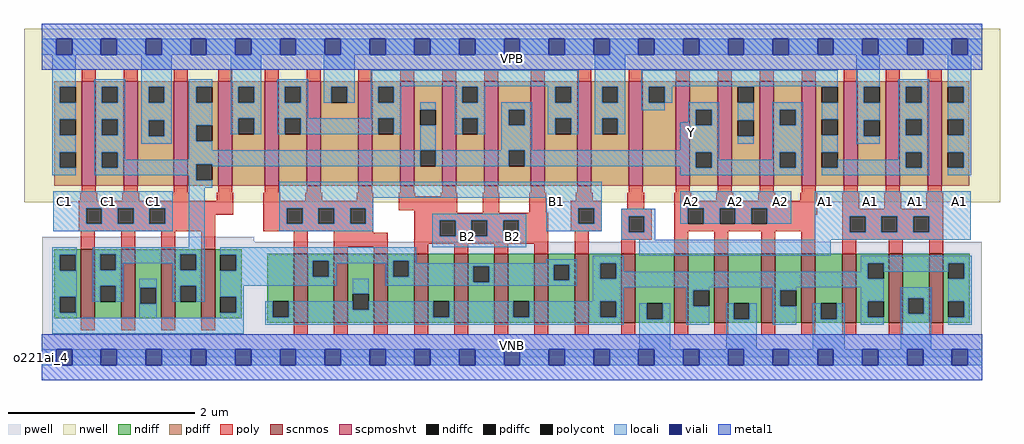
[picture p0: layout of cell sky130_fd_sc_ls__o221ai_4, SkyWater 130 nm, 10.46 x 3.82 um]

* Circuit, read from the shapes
.subckt sky130_fd_sc_ls__o221ai_4 A1 A2 B1 B2 C1 VGND VNB VPB VPWR Y
XM1 Y C1 n1 VNB sky130_fd_pr__nfet_01v8 w=0.74 l=0.15 m=4
XM2 n1 B1 n2 VNB sky130_fd_pr__nfet_01v8 w=0.74 l=0.15 m=4
XM3 n2 B2 n1 VNB sky130_fd_pr__nfet_01v8 w=0.74 l=0.15 m=4
XM4 VGND A1 n2 VNB sky130_fd_pr__nfet_01v8 w=0.74 l=0.15 m=4
XM5 n2 A2 VGND VNB sky130_fd_pr__nfet_01v8 w=0.74 l=0.15 m=4
XM6 Y C1 VPWR VPB sky130_fd_pr__pfet_01v8_hvt w=1.12 l=0.15 m=4
XM7 n3 B1 VPWR VPB sky130_fd_pr__pfet_01v8_hvt w=1.12 l=0.15 m=4
XM8 Y B2 n3 VPB sky130_fd_pr__pfet_01v8_hvt w=1.12 l=0.15 m=4
XM9 n4 A1 VPWR VPB sky130_fd_pr__pfet_01v8_hvt w=1.12 l=0.15 m=4
XM10 Y A2 n4 VPB sky130_fd_pr__pfet_01v8_hvt w=1.12 l=0.15 m=4
.ends

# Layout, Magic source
magic
tech sky130A
magscale 1 2
<< nwell >>
rect -38 332 2054 704
<< pwell >>
rect 1 248 455 258
rect 1 49 2015 248
rect 0 0 2016 49
<< scnmos >>
rect 84 84 114 232
rect 170 84 200 232
rect 256 84 286 232
rect 342 84 372 232
rect 540 74 570 222
rect 626 74 656 222
rect 712 74 742 222
rect 798 74 828 222
rect 884 74 914 222
rect 970 74 1000 222
rect 1056 74 1086 222
rect 1142 74 1172 222
rect 1242 74 1272 222
rect 1356 74 1386 222
rect 1442 74 1472 222
rect 1542 74 1572 222
rect 1628 74 1658 222
rect 1716 74 1746 222
rect 1816 74 1846 222
rect 1902 74 1932 222
<< scpmoshvt >>
rect 86 368 116 592
rect 176 368 206 592
rect 283 368 313 592
rect 378 368 408 592
rect 478 368 508 592
rect 568 368 598 592
rect 678 368 708 592
rect 768 368 798 592
rect 858 368 888 592
rect 948 368 978 592
rect 1048 368 1078 592
rect 1148 368 1178 592
rect 1258 368 1288 592
rect 1359 368 1389 592
rect 1449 368 1479 592
rect 1539 368 1569 592
rect 1629 368 1659 592
rect 1719 368 1749 592
rect 1809 368 1839 592
rect 1899 368 1929 592
<< ndiff >>
rect 27 220 84 232
rect 27 186 39 220
rect 73 186 84 220
rect 27 130 84 186
rect 27 96 39 130
rect 73 96 84 130
rect 27 84 84 96
rect 114 221 170 232
rect 114 187 125 221
rect 159 187 170 221
rect 114 153 170 187
rect 114 119 125 153
rect 159 119 170 153
rect 114 84 170 119
rect 200 149 256 232
rect 200 115 211 149
rect 245 115 256 149
rect 200 84 256 115
rect 286 221 342 232
rect 286 187 297 221
rect 331 187 342 221
rect 286 153 342 187
rect 286 119 297 153
rect 331 119 342 153
rect 286 84 342 119
rect 372 220 429 232
rect 372 186 383 220
rect 417 186 429 220
rect 372 130 429 186
rect 372 96 383 130
rect 417 96 429 130
rect 372 84 429 96
rect 483 120 540 222
rect 483 86 495 120
rect 529 86 540 120
rect 483 74 540 86
rect 570 207 626 222
rect 570 173 581 207
rect 615 173 626 207
rect 570 74 626 173
rect 656 136 712 222
rect 656 102 667 136
rect 701 102 712 136
rect 656 74 712 102
rect 742 207 798 222
rect 742 173 753 207
rect 787 173 798 207
rect 742 74 798 173
rect 828 120 884 222
rect 828 86 839 120
rect 873 86 884 120
rect 828 74 884 86
rect 914 195 970 222
rect 914 161 925 195
rect 959 161 970 195
rect 914 74 970 161
rect 1000 120 1056 222
rect 1000 86 1011 120
rect 1045 86 1056 120
rect 1000 74 1056 86
rect 1086 199 1142 222
rect 1086 165 1097 199
rect 1131 165 1142 199
rect 1086 74 1142 165
rect 1172 202 1242 222
rect 1172 168 1197 202
rect 1231 168 1242 202
rect 1172 120 1242 168
rect 1172 86 1197 120
rect 1231 86 1242 120
rect 1172 74 1242 86
rect 1272 116 1356 222
rect 1272 82 1297 116
rect 1331 82 1356 116
rect 1272 74 1356 82
rect 1386 144 1442 222
rect 1386 110 1397 144
rect 1431 110 1442 144
rect 1386 74 1442 110
rect 1472 116 1542 222
rect 1472 82 1483 116
rect 1517 82 1542 116
rect 1472 74 1542 82
rect 1572 144 1628 222
rect 1572 110 1583 144
rect 1617 110 1628 144
rect 1572 74 1628 110
rect 1658 116 1716 222
rect 1658 82 1670 116
rect 1704 82 1716 116
rect 1658 74 1716 82
rect 1746 202 1816 222
rect 1746 168 1771 202
rect 1805 168 1816 202
rect 1746 120 1816 168
rect 1746 86 1771 120
rect 1805 86 1816 120
rect 1746 74 1816 86
rect 1846 127 1902 222
rect 1846 93 1857 127
rect 1891 93 1902 127
rect 1846 74 1902 93
rect 1932 202 1989 222
rect 1932 168 1943 202
rect 1977 168 1989 202
rect 1932 120 1989 168
rect 1932 86 1943 120
rect 1977 86 1989 120
rect 1932 74 1989 86
<< pdiff >>
rect 27 580 86 592
rect 27 546 39 580
rect 73 546 86 580
rect 27 510 86 546
rect 27 476 39 510
rect 73 476 86 510
rect 27 440 86 476
rect 27 406 39 440
rect 73 406 86 440
rect 27 368 86 406
rect 116 580 176 592
rect 116 546 129 580
rect 163 546 176 580
rect 116 510 176 546
rect 116 476 129 510
rect 163 476 176 510
rect 116 440 176 476
rect 116 406 129 440
rect 163 406 176 440
rect 116 368 176 406
rect 206 580 283 592
rect 206 546 229 580
rect 263 546 283 580
rect 206 508 283 546
rect 206 474 229 508
rect 263 474 283 508
rect 206 368 283 474
rect 313 580 378 592
rect 313 546 331 580
rect 365 546 378 580
rect 313 497 378 546
rect 313 463 331 497
rect 365 463 378 497
rect 313 414 378 463
rect 313 380 331 414
rect 365 380 378 414
rect 313 368 378 380
rect 408 580 478 592
rect 408 546 421 580
rect 455 546 478 580
rect 408 512 478 546
rect 408 478 421 512
rect 455 478 478 512
rect 408 368 478 478
rect 508 580 568 592
rect 508 546 521 580
rect 555 546 568 580
rect 508 512 568 546
rect 508 478 521 512
rect 555 478 568 512
rect 508 368 568 478
rect 598 580 678 592
rect 598 546 621 580
rect 655 546 678 580
rect 598 368 678 546
rect 708 580 768 592
rect 708 546 721 580
rect 755 546 768 580
rect 708 512 768 546
rect 708 478 721 512
rect 755 478 768 512
rect 708 368 768 478
rect 798 531 858 592
rect 798 497 811 531
rect 845 497 858 531
rect 798 444 858 497
rect 798 410 811 444
rect 845 410 858 444
rect 798 368 858 410
rect 888 580 948 592
rect 888 546 901 580
rect 935 546 948 580
rect 888 512 948 546
rect 888 478 901 512
rect 935 478 948 512
rect 888 368 948 478
rect 978 531 1048 592
rect 978 497 1001 531
rect 1035 497 1048 531
rect 978 444 1048 497
rect 978 410 1001 444
rect 1035 410 1048 444
rect 978 368 1048 410
rect 1078 580 1148 592
rect 1078 546 1101 580
rect 1135 546 1148 580
rect 1078 512 1148 546
rect 1078 478 1101 512
rect 1135 478 1148 512
rect 1078 368 1148 478
rect 1178 580 1258 592
rect 1178 546 1201 580
rect 1235 546 1258 580
rect 1178 512 1258 546
rect 1178 478 1201 512
rect 1235 478 1258 512
rect 1178 368 1258 478
rect 1288 580 1359 592
rect 1288 546 1301 580
rect 1335 546 1359 580
rect 1288 368 1359 546
rect 1389 531 1449 592
rect 1389 497 1402 531
rect 1436 497 1449 531
rect 1389 440 1449 497
rect 1389 406 1402 440
rect 1436 406 1449 440
rect 1389 368 1449 406
rect 1479 580 1539 592
rect 1479 546 1492 580
rect 1526 546 1539 580
rect 1479 508 1539 546
rect 1479 474 1492 508
rect 1526 474 1539 508
rect 1479 368 1539 474
rect 1569 531 1629 592
rect 1569 497 1582 531
rect 1616 497 1629 531
rect 1569 440 1629 497
rect 1569 406 1582 440
rect 1616 406 1629 440
rect 1569 368 1629 406
rect 1659 580 1719 592
rect 1659 546 1672 580
rect 1706 546 1719 580
rect 1659 510 1719 546
rect 1659 476 1672 510
rect 1706 476 1719 510
rect 1659 440 1719 476
rect 1659 406 1672 440
rect 1706 406 1719 440
rect 1659 368 1719 406
rect 1749 580 1809 592
rect 1749 546 1762 580
rect 1796 546 1809 580
rect 1749 508 1809 546
rect 1749 474 1762 508
rect 1796 474 1809 508
rect 1749 368 1809 474
rect 1839 580 1899 592
rect 1839 546 1852 580
rect 1886 546 1899 580
rect 1839 510 1899 546
rect 1839 476 1852 510
rect 1886 476 1899 510
rect 1839 440 1899 476
rect 1839 406 1852 440
rect 1886 406 1899 440
rect 1839 368 1899 406
rect 1929 580 1988 592
rect 1929 546 1942 580
rect 1976 546 1988 580
rect 1929 510 1988 546
rect 1929 476 1942 510
rect 1976 476 1988 510
rect 1929 440 1988 476
rect 1929 406 1942 440
rect 1976 406 1988 440
rect 1929 368 1988 406
<< ndiffc >>
rect 39 186 73 220
rect 39 96 73 130
rect 125 187 159 221
rect 125 119 159 153
rect 211 115 245 149
rect 297 187 331 221
rect 297 119 331 153
rect 383 186 417 220
rect 383 96 417 130
rect 495 86 529 120
rect 581 173 615 207
rect 667 102 701 136
rect 753 173 787 207
rect 839 86 873 120
rect 925 161 959 195
rect 1011 86 1045 120
rect 1097 165 1131 199
rect 1197 168 1231 202
rect 1197 86 1231 120
rect 1297 82 1331 116
rect 1397 110 1431 144
rect 1483 82 1517 116
rect 1583 110 1617 144
rect 1670 82 1704 116
rect 1771 168 1805 202
rect 1771 86 1805 120
rect 1857 93 1891 127
rect 1943 168 1977 202
rect 1943 86 1977 120
<< pdiffc >>
rect 39 546 73 580
rect 39 476 73 510
rect 39 406 73 440
rect 129 546 163 580
rect 129 476 163 510
rect 129 406 163 440
rect 229 546 263 580
rect 229 474 263 508
rect 331 546 365 580
rect 331 463 365 497
rect 331 380 365 414
rect 421 546 455 580
rect 421 478 455 512
rect 521 546 555 580
rect 521 478 555 512
rect 621 546 655 580
rect 721 546 755 580
rect 721 478 755 512
rect 811 497 845 531
rect 811 410 845 444
rect 901 546 935 580
rect 901 478 935 512
rect 1001 497 1035 531
rect 1001 410 1035 444
rect 1101 546 1135 580
rect 1101 478 1135 512
rect 1201 546 1235 580
rect 1201 478 1235 512
rect 1301 546 1335 580
rect 1402 497 1436 531
rect 1402 406 1436 440
rect 1492 546 1526 580
rect 1492 474 1526 508
rect 1582 497 1616 531
rect 1582 406 1616 440
rect 1672 546 1706 580
rect 1672 476 1706 510
rect 1672 406 1706 440
rect 1762 546 1796 580
rect 1762 474 1796 508
rect 1852 546 1886 580
rect 1852 476 1886 510
rect 1852 406 1886 440
rect 1942 546 1976 580
rect 1942 476 1976 510
rect 1942 406 1976 440
<< poly >>
rect 86 592 116 618
rect 176 592 206 618
rect 283 592 313 618
rect 378 592 408 618
rect 478 592 508 618
rect 568 592 598 618
rect 678 592 708 618
rect 768 592 798 618
rect 858 592 888 618
rect 948 592 978 618
rect 1048 592 1078 618
rect 1148 592 1178 618
rect 1258 592 1288 618
rect 1359 592 1389 618
rect 1449 592 1479 618
rect 1539 592 1569 618
rect 1629 592 1659 618
rect 1719 592 1749 618
rect 1809 592 1839 618
rect 1899 592 1929 618
rect 86 353 116 368
rect 176 353 206 368
rect 283 353 313 368
rect 378 353 408 368
rect 478 353 508 368
rect 568 353 598 368
rect 678 353 708 368
rect 768 353 798 368
rect 858 353 888 368
rect 948 353 978 368
rect 1048 353 1078 368
rect 1148 353 1178 368
rect 1258 353 1288 368
rect 1359 353 1389 368
rect 1449 353 1479 368
rect 1539 353 1569 368
rect 1629 353 1659 368
rect 1719 353 1749 368
rect 1809 353 1839 368
rect 1899 353 1929 368
rect 83 336 119 353
rect 173 336 209 353
rect 280 336 316 353
rect 375 336 411 353
rect 79 320 411 336
rect 79 286 95 320
rect 129 286 163 320
rect 197 286 231 320
rect 265 306 411 320
rect 475 336 511 353
rect 565 336 601 353
rect 675 336 711 353
rect 475 320 711 336
rect 265 286 372 306
rect 79 270 372 286
rect 475 286 525 320
rect 559 286 593 320
rect 627 286 661 320
rect 695 286 711 320
rect 765 345 801 353
rect 855 345 891 353
rect 765 315 891 345
rect 475 270 711 286
rect 84 232 114 270
rect 170 232 200 270
rect 256 232 286 270
rect 342 232 372 270
rect 540 222 570 270
rect 626 267 711 270
rect 798 310 891 315
rect 945 310 981 353
rect 1045 310 1081 353
rect 1145 336 1181 353
rect 1134 320 1200 336
rect 798 294 1086 310
rect 626 237 742 267
rect 626 222 656 237
rect 712 222 742 237
rect 798 260 853 294
rect 887 260 921 294
rect 955 260 989 294
rect 1023 260 1086 294
rect 1134 286 1150 320
rect 1184 286 1200 320
rect 1255 318 1291 353
rect 1356 336 1392 353
rect 1446 336 1482 353
rect 1536 336 1572 353
rect 1626 336 1662 353
rect 1356 320 1662 336
rect 1134 270 1200 286
rect 1242 302 1308 318
rect 798 244 1086 260
rect 798 222 828 244
rect 884 222 914 244
rect 970 222 1000 244
rect 1056 222 1086 244
rect 1142 222 1172 270
rect 1242 268 1258 302
rect 1292 268 1308 302
rect 1242 252 1308 268
rect 1356 286 1385 320
rect 1419 286 1453 320
rect 1487 286 1521 320
rect 1555 306 1662 320
rect 1716 318 1752 353
rect 1806 318 1842 353
rect 1896 318 1932 353
rect 1555 286 1658 306
rect 1356 270 1658 286
rect 1242 222 1272 252
rect 1356 222 1386 270
rect 1442 222 1472 270
rect 1542 222 1572 270
rect 1628 222 1658 270
rect 1716 302 1932 318
rect 1716 268 1732 302
rect 1766 268 1800 302
rect 1834 268 1868 302
rect 1902 268 1932 302
rect 1716 252 1932 268
rect 1716 222 1746 252
rect 1816 222 1846 252
rect 1902 222 1932 252
rect 84 58 114 84
rect 170 58 200 84
rect 256 58 286 84
rect 342 58 372 84
rect 540 48 570 74
rect 626 48 656 74
rect 712 48 742 74
rect 798 48 828 74
rect 884 48 914 74
rect 970 48 1000 74
rect 1056 48 1086 74
rect 1142 48 1172 74
rect 1242 48 1272 74
rect 1356 48 1386 74
rect 1442 48 1472 74
rect 1542 48 1572 74
rect 1628 48 1658 74
rect 1716 48 1746 74
rect 1816 48 1846 74
rect 1902 48 1932 74
<< polycont >>
rect 95 286 129 320
rect 163 286 197 320
rect 231 286 265 320
rect 525 286 559 320
rect 593 286 627 320
rect 661 286 695 320
rect 853 260 887 294
rect 921 260 955 294
rect 989 260 1023 294
rect 1150 286 1184 320
rect 1258 268 1292 302
rect 1385 286 1419 320
rect 1453 286 1487 320
rect 1521 286 1555 320
rect 1732 268 1766 302
rect 1800 268 1834 302
rect 1868 268 1902 302
<< locali >>
rect 0 649 31 683
rect 65 649 127 683
rect 161 649 223 683
rect 257 649 319 683
rect 353 649 415 683
rect 449 649 511 683
rect 545 649 607 683
rect 641 649 703 683
rect 737 649 799 683
rect 833 649 895 683
rect 929 649 991 683
rect 1025 649 1087 683
rect 1121 649 1183 683
rect 1217 649 1279 683
rect 1313 649 1375 683
rect 1409 649 1471 683
rect 1505 649 1567 683
rect 1601 649 1663 683
rect 1697 649 1759 683
rect 1793 649 1855 683
rect 1889 649 1951 683
rect 1985 649 2016 683
rect 23 580 73 649
rect 23 546 39 580
rect 23 510 73 546
rect 23 476 39 510
rect 23 440 73 476
rect 23 406 39 440
rect 23 390 73 406
rect 113 580 179 596
rect 113 546 129 580
rect 163 546 179 580
rect 113 510 179 546
rect 113 476 129 510
rect 163 476 179 510
rect 113 440 179 476
rect 213 580 279 649
rect 213 546 229 580
rect 263 546 279 580
rect 213 508 279 546
rect 213 474 229 508
rect 263 474 279 508
rect 213 458 279 474
rect 315 580 365 596
rect 315 546 331 580
rect 315 497 365 546
rect 315 463 331 497
rect 405 580 471 649
rect 405 546 421 580
rect 455 546 471 580
rect 405 512 471 546
rect 405 478 421 512
rect 455 478 471 512
rect 505 580 571 596
rect 505 546 521 580
rect 555 546 571 580
rect 605 580 671 649
rect 605 546 621 580
rect 655 546 671 580
rect 705 581 1151 615
rect 705 580 771 581
rect 705 546 721 580
rect 755 546 771 580
rect 885 580 951 581
rect 505 512 571 546
rect 705 512 771 546
rect 505 478 521 512
rect 555 478 721 512
rect 755 478 771 512
rect 811 531 845 547
rect 113 406 129 440
rect 163 424 179 440
rect 315 444 365 463
rect 811 444 845 497
rect 885 546 901 580
rect 935 546 951 580
rect 1085 580 1151 581
rect 885 512 951 546
rect 885 478 901 512
rect 935 478 951 512
rect 985 531 1051 547
rect 985 497 1001 531
rect 1035 497 1051 531
rect 985 444 1051 497
rect 1085 546 1101 580
rect 1135 546 1151 580
rect 1085 512 1151 546
rect 1085 478 1101 512
rect 1135 478 1151 512
rect 1185 580 1251 649
rect 1185 546 1201 580
rect 1235 546 1251 580
rect 1185 512 1251 546
rect 1285 581 1706 615
rect 1285 580 1352 581
rect 1285 546 1301 580
rect 1335 546 1352 580
rect 1492 580 1526 581
rect 1285 530 1335 546
rect 1386 531 1452 547
rect 1185 478 1201 512
rect 1235 478 1251 512
rect 1386 504 1402 531
rect 1369 497 1402 504
rect 1436 497 1452 531
rect 1369 444 1452 497
rect 1672 580 1706 581
rect 1492 508 1526 546
rect 1492 458 1526 474
rect 1566 531 1632 547
rect 1566 497 1582 531
rect 1616 497 1632 531
rect 315 424 811 444
rect 163 414 811 424
rect 163 406 331 414
rect 113 390 331 406
rect 315 380 331 390
rect 365 410 811 414
rect 845 410 1001 444
rect 1035 440 1452 444
rect 1035 410 1402 440
rect 1369 406 1402 410
rect 1436 424 1452 440
rect 1566 440 1632 497
rect 1566 424 1582 440
rect 1436 406 1582 424
rect 1616 406 1632 440
rect 1369 390 1632 406
rect 1672 510 1706 546
rect 1672 440 1706 476
rect 1746 580 1796 649
rect 1746 546 1762 580
rect 1746 508 1796 546
rect 1746 474 1762 508
rect 1746 458 1796 474
rect 1836 580 1902 596
rect 1836 546 1852 580
rect 1886 546 1902 580
rect 1836 510 1902 546
rect 1836 476 1852 510
rect 1886 476 1902 510
rect 1836 440 1902 476
rect 1836 424 1852 440
rect 1706 406 1852 424
rect 1886 406 1902 440
rect 1672 390 1902 406
rect 1942 580 1992 649
rect 1976 546 1992 580
rect 1942 510 1992 546
rect 1976 476 1992 510
rect 1942 440 1992 476
rect 1976 406 1992 440
rect 1942 390 1992 406
rect 315 364 365 380
rect 25 320 281 356
rect 25 286 95 320
rect 129 286 163 320
rect 197 286 231 320
rect 265 286 281 320
rect 25 270 281 286
rect 315 236 349 364
rect 509 342 1200 376
rect 509 320 711 342
rect 509 286 525 320
rect 559 286 593 320
rect 627 286 661 320
rect 695 286 711 320
rect 1081 320 1200 342
rect 509 270 711 286
rect 837 294 1039 308
rect 837 260 853 294
rect 887 260 921 294
rect 955 260 989 294
rect 1023 260 1039 294
rect 1081 286 1150 320
rect 1184 286 1200 320
rect 1369 320 1607 356
rect 1081 270 1200 286
rect 1242 302 1315 318
rect 837 236 1039 260
rect 1242 268 1258 302
rect 1292 268 1315 302
rect 1369 286 1385 320
rect 1419 286 1453 320
rect 1487 286 1521 320
rect 1555 286 1607 320
rect 1657 302 1991 356
rect 1242 252 1315 268
rect 1657 268 1732 302
rect 1766 268 1800 302
rect 1834 268 1868 302
rect 1902 268 1991 302
rect 1657 252 1991 268
rect 23 220 75 236
rect 23 186 39 220
rect 73 186 75 220
rect 23 130 75 186
rect 23 96 39 130
rect 73 96 75 130
rect 109 221 349 236
rect 109 187 125 221
rect 159 202 297 221
rect 159 187 175 202
rect 109 153 175 187
rect 281 187 297 202
rect 331 187 349 221
rect 109 119 125 153
rect 159 119 175 153
rect 209 149 247 168
rect 23 85 75 96
rect 209 115 211 149
rect 245 115 247 149
rect 281 153 349 187
rect 281 119 297 153
rect 331 119 349 153
rect 383 220 803 236
rect 417 207 803 220
rect 1281 218 1691 252
rect 417 186 581 207
rect 383 173 581 186
rect 615 202 753 207
rect 615 173 631 202
rect 383 154 631 173
rect 737 173 753 202
rect 787 202 803 207
rect 1081 202 1147 210
rect 787 199 1147 202
rect 787 195 1097 199
rect 787 173 925 195
rect 383 130 433 154
rect 209 85 247 115
rect 417 96 433 130
rect 667 136 701 168
rect 737 161 925 173
rect 959 165 1097 195
rect 1131 165 1147 199
rect 959 161 1147 165
rect 737 154 1147 161
rect 1181 202 1247 218
rect 1181 168 1197 202
rect 1231 184 1247 202
rect 1755 202 1993 218
rect 1755 184 1771 202
rect 1231 168 1771 184
rect 1805 184 1943 202
rect 383 85 433 96
rect 23 51 433 85
rect 479 86 495 120
rect 529 102 667 120
rect 1181 150 1805 168
rect 1977 168 1993 202
rect 1181 120 1247 150
rect 701 102 839 120
rect 529 86 839 102
rect 873 86 1011 120
rect 1045 86 1197 120
rect 1231 86 1247 120
rect 1381 144 1431 150
rect 479 70 1247 86
rect 1281 82 1297 116
rect 1331 82 1347 116
rect 1281 17 1347 82
rect 1381 110 1397 144
rect 1567 144 1617 150
rect 1381 70 1431 110
rect 1467 82 1483 116
rect 1517 82 1533 116
rect 1467 17 1533 82
rect 1567 110 1583 144
rect 1755 120 1805 150
rect 1567 70 1617 110
rect 1653 82 1670 116
rect 1704 82 1721 116
rect 1653 17 1721 82
rect 1755 86 1771 120
rect 1755 70 1805 86
rect 1841 127 1907 150
rect 1841 93 1857 127
rect 1891 93 1907 127
rect 1841 17 1907 93
rect 1943 120 1993 168
rect 1977 86 1993 120
rect 1943 70 1993 86
rect 0 -17 31 17
rect 65 -17 127 17
rect 161 -17 223 17
rect 257 -17 319 17
rect 353 -17 415 17
rect 449 -17 511 17
rect 545 -17 607 17
rect 641 -17 703 17
rect 737 -17 799 17
rect 833 -17 895 17
rect 929 -17 991 17
rect 1025 -17 1087 17
rect 1121 -17 1183 17
rect 1217 -17 1279 17
rect 1313 -17 1375 17
rect 1409 -17 1471 17
rect 1505 -17 1567 17
rect 1601 -17 1663 17
rect 1697 -17 1759 17
rect 1793 -17 1855 17
rect 1889 -17 1951 17
rect 1985 -17 2016 17
<< viali >>
rect 31 649 65 683
rect 127 649 161 683
rect 223 649 257 683
rect 319 649 353 683
rect 415 649 449 683
rect 511 649 545 683
rect 607 649 641 683
rect 703 649 737 683
rect 799 649 833 683
rect 895 649 929 683
rect 991 649 1025 683
rect 1087 649 1121 683
rect 1183 649 1217 683
rect 1279 649 1313 683
rect 1375 649 1409 683
rect 1471 649 1505 683
rect 1567 649 1601 683
rect 1663 649 1697 683
rect 1759 649 1793 683
rect 1855 649 1889 683
rect 1951 649 1985 683
rect 31 -17 65 17
rect 127 -17 161 17
rect 223 -17 257 17
rect 319 -17 353 17
rect 415 -17 449 17
rect 511 -17 545 17
rect 607 -17 641 17
rect 703 -17 737 17
rect 799 -17 833 17
rect 895 -17 929 17
rect 991 -17 1025 17
rect 1087 -17 1121 17
rect 1183 -17 1217 17
rect 1279 -17 1313 17
rect 1375 -17 1409 17
rect 1471 -17 1505 17
rect 1567 -17 1601 17
rect 1663 -17 1697 17
rect 1759 -17 1793 17
rect 1855 -17 1889 17
rect 1951 -17 1985 17
<< metal1 >>
rect 0 683 2016 715
rect 0 649 31 683
rect 65 649 127 683
rect 161 649 223 683
rect 257 649 319 683
rect 353 649 415 683
rect 449 649 511 683
rect 545 649 607 683
rect 641 649 703 683
rect 737 649 799 683
rect 833 649 895 683
rect 929 649 991 683
rect 1025 649 1087 683
rect 1121 649 1183 683
rect 1217 649 1279 683
rect 1313 649 1375 683
rect 1409 649 1471 683
rect 1505 649 1567 683
rect 1601 649 1663 683
rect 1697 649 1759 683
rect 1793 649 1855 683
rect 1889 649 1951 683
rect 1985 649 2016 683
rect 0 617 2016 649
rect 0 17 2016 49
rect 0 -17 31 17
rect 65 -17 127 17
rect 161 -17 223 17
rect 257 -17 319 17
rect 353 -17 415 17
rect 449 -17 511 17
rect 545 -17 607 17
rect 641 -17 703 17
rect 737 -17 799 17
rect 833 -17 895 17
rect 929 -17 991 17
rect 1025 -17 1087 17
rect 1121 -17 1183 17
rect 1217 -17 1279 17
rect 1313 -17 1375 17
rect 1409 -17 1471 17
rect 1505 -17 1567 17
rect 1601 -17 1663 17
rect 1697 -17 1759 17
rect 1793 -17 1855 17
rect 1889 -17 1951 17
rect 1985 -17 2016 17
rect 0 -49 2016 -17
<< labels >>
rlabel comment s 0 0 0 0 4 o221ai_4
flabel pwell s 0 0 2016 49 0 FreeSans 200 0 0 0 VNB
port 7 nsew ground bidirectional
flabel nwell s 0 617 2016 666 0 FreeSans 200 0 0 0 VPB
port 8 nsew power bidirectional
flabel metal1 s 0 617 2016 666 0 FreeSans 340 0 0 0 VPWR
port 9 nsew power bidirectional abutment
flabel metal1 s 0 0 2016 49 0 FreeSans 340 0 0 0 VGND
port 6 nsew ground bidirectional abutment
flabel locali s 1087 316 1121 350 0 FreeSans 340 0 0 0 B1
port 3 nsew signal input
flabel locali s 1375 316 1409 350 0 FreeSans 340 0 0 0 A2
port 2 nsew signal input
flabel locali s 1471 316 1505 350 0 FreeSans 340 0 0 0 A2
port 2 nsew signal input
flabel locali s 1567 316 1601 350 0 FreeSans 340 0 0 0 A2
port 2 nsew signal input
flabel locali s 31 316 65 350 0 FreeSans 340 0 0 0 C1
port 5 nsew signal input
flabel locali s 127 316 161 350 0 FreeSans 340 0 0 0 C1
port 5 nsew signal input
flabel locali s 223 316 257 350 0 FreeSans 340 0 0 0 C1
port 5 nsew signal input
flabel locali s 895 242 929 276 0 FreeSans 340 0 0 0 B2
port 4 nsew signal input
flabel locali s 991 242 1025 276 0 FreeSans 340 0 0 0 B2
port 4 nsew signal input
flabel locali s 1375 464 1409 498 0 FreeSans 340 0 0 0 Y
port 10 nsew signal output
flabel locali s 1663 316 1697 350 0 FreeSans 340 0 0 0 A1
port 1 nsew signal input
flabel locali s 1759 316 1793 350 0 FreeSans 340 0 0 0 A1
port 1 nsew signal input
flabel locali s 1855 316 1889 350 0 FreeSans 340 0 0 0 A1
port 1 nsew signal input
flabel locali s 1951 316 1985 350 0 FreeSans 340 0 0 0 A1
port 1 nsew signal input
<< properties >>
string LEFsite unit
string LEFclass CORE
string FIXED_BBOX 0 0 2016 666
string GDS_FILE $PDKPATH/libs.ref/sky130_fd_sc_ls/gds/sky130_fd_sc_ls.gds
string LEFsymmetry X Y
string GDS_END 3726176
string GDS_START 3710094
<< end >>
